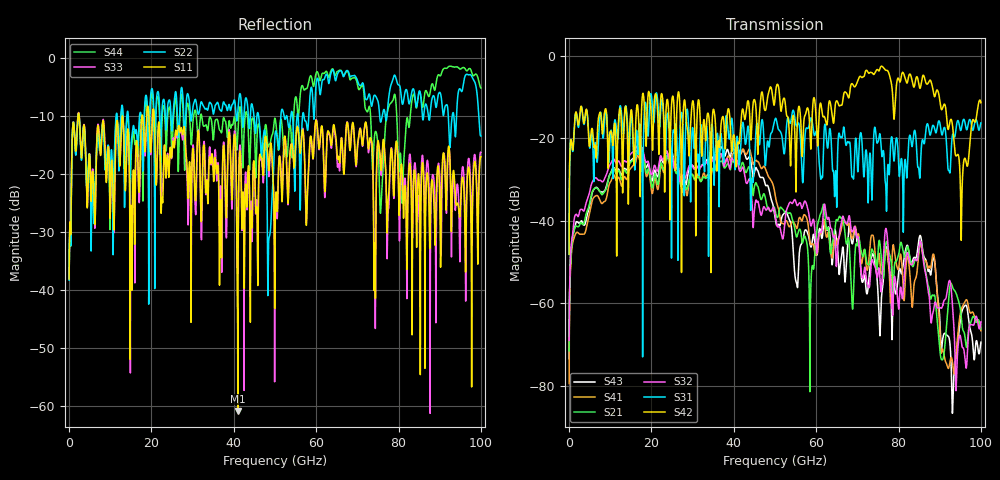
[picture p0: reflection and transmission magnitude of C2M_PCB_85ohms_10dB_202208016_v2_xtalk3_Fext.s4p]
! Info: Touchstone file created by Circ.  Input file=Intel_C2M_200G_1p5in_202208016_staggered.circ
# Hz S RI R 50
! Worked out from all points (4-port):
!   10000 points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, 10 MHz to 100 GHz, reference 50 ohm
!   strongest paths, dB at 10 MHz, 25.01 GHz, 50.01 GHz, 75.01 GHz, 100 GHz:
!     S42: -48.1, -10.4, -10.3, -3.4, -11.4
!     S31: -48.1, -24.3, -15.4, -20.9, -16.2
!     S32: -69.0, -23.8, -38.2, -52.8, -64.5
!     S21: -71.5, -25.2, -37.3, -47.7, -66.2
!     S41: -79.4, -24.8, -33.5, -49.6, -66.6
!     S43: -73.4, -23.4, -39.1, -57.5, -69.4
!   lowest |S11| = -60.8 dB at 40.97 GHz (marker M1), VSWR 1.00, Z = 50.1 + j0.0359 ohm
!   |S11| at or under -10 dB: 2.456 GHz to 12.91 GHz (10.45 GHz wide, 136 % of centre); 13.01 GHz to 17.68 GHz (4.663 GHz wide, 30.4 % of centre); 20.65 GHz to end of sweep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
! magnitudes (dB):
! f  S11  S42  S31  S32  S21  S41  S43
! 10 MHz  -38.0  -48.1  -48.1  -69.0  -71.5  -79.4  -73.4
! 6.18 GHz  -27.2  -22.0  -23.4  -29.7  -32.1  -34.1  -32.2
! 40.97 GHz  -60.8  -21.0  -20.8  -25.8  -25.7  -22.9  -22.0
! 48.62 GHz  -18.5  -8.3  -21.8  -37.2  -37.4  -29.6  -32.7
! 63.89 GHz  -13.8  -14.5  -26.2  -42.6  -45.7  -49.0  -50.6
! 95.29 GHz  -21.9  -40.4  -17.5  -69.7  -63.9  -61.3  -62.3
! 100 GHz  -16.9  -11.4  -16.2  -64.5  -66.2  -66.6  -69.4
